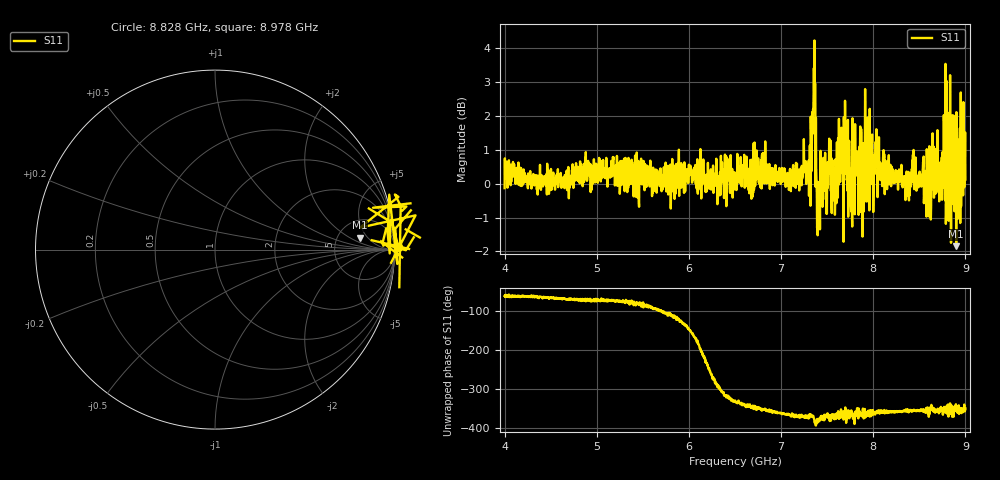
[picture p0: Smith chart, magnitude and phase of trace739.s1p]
! Created with skrf 1.8.0 (http://scikit-rf.org).
# Hz S RI R 50.0
!freq ReS11 ImS11
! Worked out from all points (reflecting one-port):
!   1601 points, 4 GHz to 9 GHz, reference 50 ohm
!   lowest |S11| = -1.8 dB at 8.9 GHz (marker M1), VSWR 9.45, Z = 412 + j157 ohm
!   phase of S11 starts at -63 deg and turns -288 deg over the sweep
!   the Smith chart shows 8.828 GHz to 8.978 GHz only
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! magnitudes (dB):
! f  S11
! 4 GHz  -0.1
! 4.625 GHz  0.0
! 5.25 GHz  -0.3
! 5.875 GHz  0.1
! 6.5 GHz  0.0
! 6.728 GHz  0.8
! 7.125 GHz  0.4
! 7.294 GHz  0.2
! 7.319 GHz  -0.6
! 7.347 GHz  2.2
! 7.362 GHz  4.2
! 7.397 GHz  -1.5
! 7.412 GHz  -0.5
! 7.519 GHz  0.3
! 7.575 GHz  0.2
! 7.669 GHz  1.1
! 7.75 GHz  -0.2
! 7.8 GHz  -0.9
! 7.909 GHz  0.7
! 7.962 GHz  2.2
! 8.375 GHz  0.0
! 8.434 GHz  0.0
! 8.603 GHz  0.0
! 8.788 GHz  -1.2
! 8.841 GHz  1.1
! 8.9 GHz  -1.8
! 8.972 GHz  0.5
! 9 GHz  0.1
